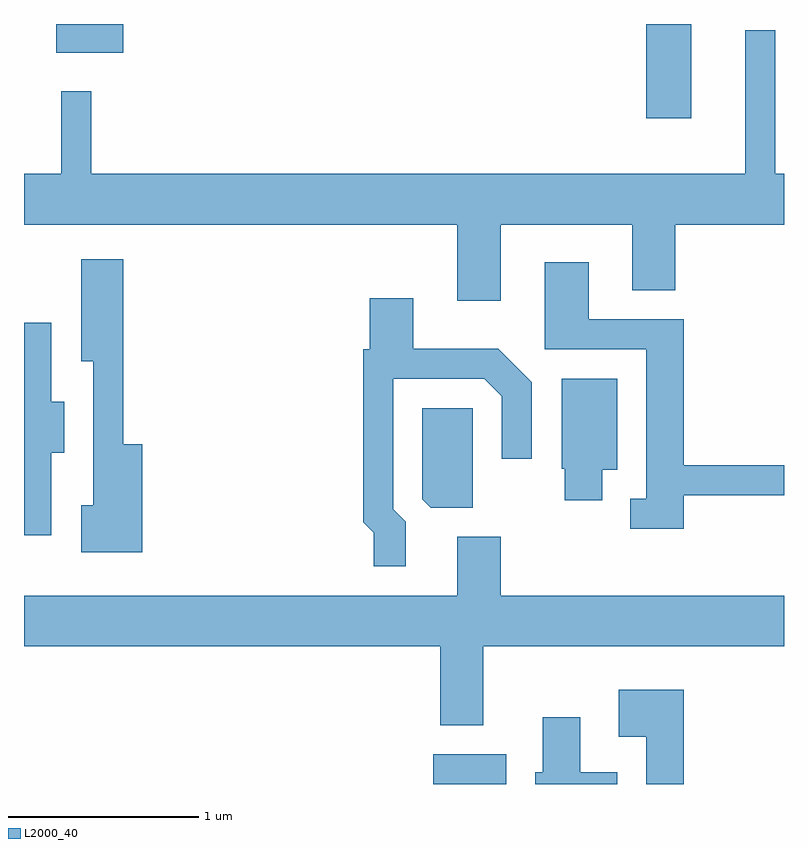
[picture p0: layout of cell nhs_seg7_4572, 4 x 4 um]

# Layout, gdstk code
import gdstk
lib = gdstk.Library(unit=1e-6, precision=1e-09)
def R(c, l, rs):  # rectangles x0, y0, x1, y1
    for r in rs: c.add(gdstk.rectangle(r[:2], r[2:], *l))
def P(c, l, *ps):  # polygons
    for p in ps: c.add(gdstk.Polygon(p, *l))
L2000_40 = (2000, 40)

nhs_seg7_4572 = lib.new_cell('nhs_seg7_4572')
R(nhs_seg7_4572, L2000_40, [(327.766,1720.252,328.149,1720.409), (328.886,1723.756,329.124,1724.252), (325.781,1724.101,326.134,1724.252)])
P(nhs_seg7_4572, L2000_40, [(328.119,1723.196),(328.811,1723.196),(328.811,1722.851),(329.039,1722.851),(329.039,1723.196),(329.611,1723.196),(329.611,1723.464),(329.564,1723.464),(329.564,1724.218),(329.406,1724.218),(329.406,1723.464),(325.964,1723.464),(325.964,1723.898),(325.806,1723.898),(325.806,1723.464),(325.611,1723.464),(325.611,1723.196),(327.891,1723.196),(327.891,1722.796),(328.119,1722.796)],
  [(326.234,1722.039),(326.134,1722.039),(326.134,1723.014),(325.911,1723.014),(325.911,1722.476),(325.976,1722.476),(325.976,1721.719),(325.911,1721.719),(325.911,1721.471),(326.234,1721.471)],
  [(329.084,1721.771),(329.611,1721.771),(329.611,1721.929),(329.084,1721.929),(329.084,1722.699),(328.584,1722.699),(328.584,1722.999),(328.351,1722.999),(328.351,1722.541),(328.886,1722.541),(328.886,1721.754),(328.803,1721.754),(328.803,1721.596),(329.084,1721.596)],
  [(327.619,1721.632),(327.554,1721.697),(327.554,1722.386),(328.034,1722.386),(328.126,1722.294),(328.126,1721.963),(328.284,1721.963),(328.284,1722.367),(328.107,1722.544),(327.659,1722.544),(327.659,1722.809),(327.431,1722.809),(327.431,1722.539),(327.396,1722.539),(327.396,1721.629),(327.451,1721.574),(327.451,1721.398),(327.619,1721.398)],
  [(325.754,1721.996),(325.824,1721.996),(325.824,1722.264),(325.754,1722.264),(325.754,1722.679),(325.611,1722.679),(325.611,1721.561),(325.754,1721.561)],
  [(328.654,1721.906),(328.734,1721.906),(328.734,1722.384),(328.441,1722.384),(328.441,1721.91),(328.456,1721.91),(328.456,1721.746),(328.654,1721.746)],
  [(327.974,1722.229),(327.706,1722.229),(327.706,1721.752),(327.752,1721.706),(327.974,1721.706)],
  [(325.611,1720.976),(327.801,1720.976),(327.801,1720.561),(328.029,1720.561),(328.029,1720.976),(329.611,1720.976),(329.611,1721.244),(328.119,1721.244),(328.119,1721.554),(327.891,1721.554),(327.891,1721.244),(325.611,1721.244)],
  [(329.084,1720.749),(328.741,1720.749),(328.741,1720.501),(328.886,1720.501),(328.886,1720.252),(329.084,1720.252)],
  [(328.734,1720.314),(328.539,1720.314),(328.539,1720.604),(328.341,1720.604),(328.341,1720.314),(328.301,1720.314),(328.301,1720.252),(328.734,1720.252)])

lib.write_gds('nhs_seg7_4572.gds')
